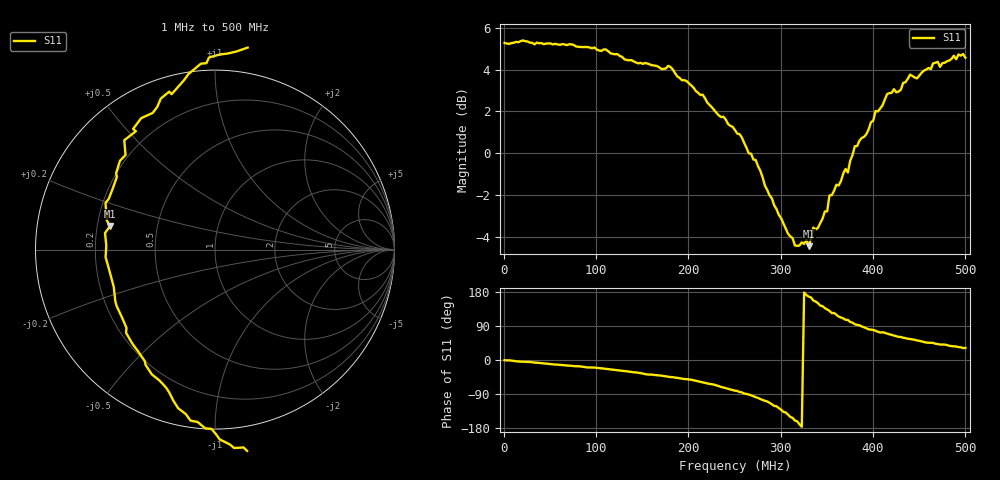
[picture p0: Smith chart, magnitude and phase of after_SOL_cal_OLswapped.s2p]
! PocketVna 1.54  pocketvna.com
! Live measurements ((Reflection-S11) Linear 1000000-500000000/201 calibrated)
# MHz S DB R 50
! MHz  dBS11  <S11  dBS21  <S21  dBS12  <S12  dBS22  <S22
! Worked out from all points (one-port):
!   201 points, 1 MHz to 500 MHz, reference 50 ohm
!   lowest |S11| = -4.5 dB at 330.3 MHz (marker M1), VSWR 3.98, Z = 12.7 + j5.23 ohm
!   |S11| at or under -10 dB: nowhere
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1  5.29 -0.5  -200.00 0.0  -200.00 0.0  -200.00 0.0
85.83  5.09 -17.9  -200.00 0.0  -200.00 0.0  -200.00 0.0
110.78  4.97 -23.3  -200.00 0.0  -200.00 0.0  -200.00 0.0
168.165  4.12 -40.8  -200.00 0.0  -200.00 0.0  -200.00 0.0
180.64  4.13 -45.1  -200.00 0.0  -200.00 0.0  -200.00 0.0
203.095  3.24 -52.0  -200.00 0.0  -200.00 0.0  -200.00 0.0
250.5  1.11 -80.9  -200.00 0.0  -200.00 0.0  -200.00 0.0
272.955  -0.33 -98.1  -200.00 0.0  -200.00 0.0  -200.00 0.0
295.41  -2.68 -122.1  -200.00 0.0  -200.00 0.0  -200.00 0.0
310.38  -3.99 -150.3  -200.00 0.0  -200.00 0.0  -200.00 0.0
330.34  -4.46 167.3  -200.00 0.0  -200.00 0.0  -200.00 0.0
335.33  -3.57 157.0  -200.00 0.0  -200.00 0.0  -200.00 0.0
357.785  -1.80 124.2  -200.00 0.0  -200.00 0.0  -200.00 0.0
380.24  0.33 94.3  -200.00 0.0  -200.00 0.0  -200.00 0.0
417.665  2.88 68.0  -200.00 0.0  -200.00 0.0  -200.00 0.0
427.645  2.95 61.1  -200.00 0.0  -200.00 0.0  -200.00 0.0
440.12  3.77 55.4  -200.00 0.0  -200.00 0.0  -200.00 0.0
457.585  4.01 46.0  -200.00 0.0  -200.00 0.0  -200.00 0.0
465.07  4.31 45.0  -200.00 0.0  -200.00 0.0  -200.00 0.0
472.555  4.14 40.7  -200.00 0.0  -200.00 0.0  -200.00 0.0
480.04  4.41 39.5  -200.00 0.0  -200.00 0.0  -200.00 0.0
500  4.58 31.7  -200.00 0.0  -200.00 0.0  -200.00 0.0
